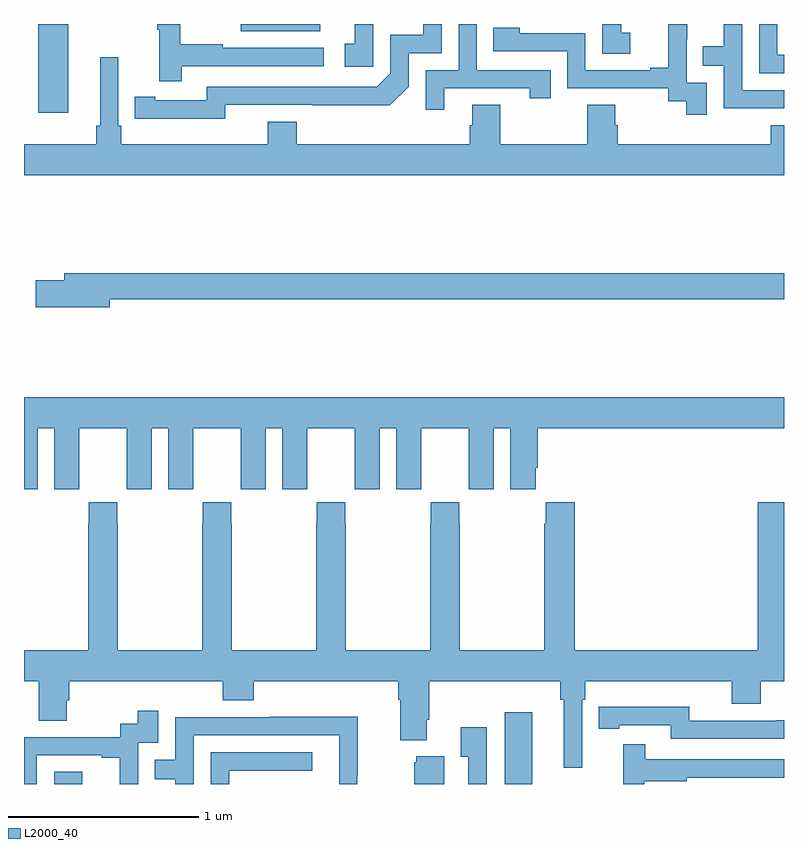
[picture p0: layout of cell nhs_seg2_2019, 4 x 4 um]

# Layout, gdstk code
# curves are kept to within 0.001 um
import gdstk
lib = gdstk.Library(unit=1e-6, precision=1e-09)
def R(c, l, rs):  # rectangles x0, y0, x1, y1
    for r in rs: c.add(gdstk.rectangle(r[:2], r[2:], *l))
def P(c, l, *ps):  # polygons
    for p in ps: c.add(gdstk.Polygon(p, *l))
L2000_40 = (2000, 40)

nhs_seg2_2019 = lib.new_cell('nhs_seg2_2019')
R(nhs_seg2_2019, L2000_40, [(217.158,609.8,217.306,609.865), (219.53,609.8,219.676,610.177), (217.076,613.332,217.234,613.8), (218.141,613.763,218.56,613.8)])
P(nhs_seg2_2019, L2000_40, [(220.192,613.753),(220.143,613.753),(220.143,613.8),(220.044,613.8),(220.044,613.644),(220.192,613.644)],
  [(219.211,613.461),(219.662,613.461),(219.662,613.41),(219.773,613.41),(219.773,613.557),(219.384,613.557),(219.384,613.8),(219.288,613.8),(219.288,613.557),(219.114,613.557),(219.114,613.35),(219.211,613.35)],
  [(218.058,613.374),(218.926,613.373),(219.024,613.47),(219.024,613.647),(219.198,613.647),(219.198,613.8),(219.101,613.8),(219.101,613.743),(218.928,613.743),(218.928,613.542),(218.856,613.47),(217.962,613.47),(217.962,613.398),(217.69,613.398),(217.69,613.418),(217.582,613.418),(217.582,613.302),(218.058,613.301)],
  [(221,613.638),(220.965,613.638),(220.965,613.8),(220.869,613.8),(220.869,613.542),(221,613.542)],
  [(221,613.452),(220.779,613.452),(220.779,613.8),(220.683,613.8),(220.683,613.682),(220.573,613.682),(220.573,613.581),(220.683,613.581),(220.683,613.356),(221,613.356)],
  [(218.838,613.8),(218.741,613.8),(218.741,613.695),(218.688,613.695),(218.688,613.575),(218.838,613.575)],
  [(217.829,613.578),(218.578,613.578),(218.578,613.674),(218.045,613.674),(218.045,613.694),(217.822,613.694),(217.822,613.8),(217.701,613.8),(217.701,613.771),(217.712,613.771),(217.712,613.5),(217.829,613.5)],
  [(220.593,613.491),(220.488,613.491),(220.488,613.721),(220.49,613.721),(220.49,613.8),(220.391,613.8),(220.391,613.57),(220.295,613.57),(220.295,613.557),(219.954,613.557),(219.954,613.752),(219.609,613.752),(219.609,613.779),(219.469,613.779),(219.469,613.656),(219.858,613.656),(219.858,613.461),(220.392,613.461),(220.392,613.393),(220.485,613.393),(220.485,613.323),(220.593,613.323)],
  [(221,613.267),(220.931,613.267),(220.931,613.168),(220.124,613.168),(220.124,613.266),(220.111,613.266),(220.111,613.376),(219.964,613.376),(219.964,613.168),(219.507,613.168),(219.507,613.376),(219.359,613.376),(219.359,613.266),(219.347,613.266),(219.347,613.168),(218.435,613.168),(218.435,613.285),(218.282,613.285),(218.282,613.168),(217.511,613.168),(217.511,613.264),(217.497,613.264),(217.497,613.624),(217.4,613.624),(217.4,613.264),(217.381,613.264),(217.381,613.168),(217,613.168),(217,613.004),(221,613.004)],
  [(217.45,612.352),(221,612.352),(221,612.488),(217.211,612.488),(217.211,612.452),(217.062,612.452),(217.062,612.31),(217.45,612.31)],
  [(217.072,611.672),(217.16,611.672),(217.16,611.352),(217.29,611.352),(217.29,611.464),(217.291,611.464),(217.291,611.672),(217.541,611.672),(217.541,611.464),(217.542,611.464),(217.542,611.352),(217.672,611.352),(217.672,611.672),(217.76,611.672),(217.76,611.352),(217.89,611.352),(217.89,611.464),(217.891,611.464),(217.891,611.672),(218.141,611.672),(218.141,611.464),(218.142,611.464),(218.142,611.352),(218.272,611.352),(218.272,611.672),(218.36,611.672),(218.36,611.352),(218.49,611.352),(218.49,611.464),(218.491,611.464),(218.491,611.672),(218.741,611.672),(218.741,611.464),(218.742,611.464),(218.742,611.352),(218.872,611.352),(218.872,611.672),(218.96,611.672),(218.96,611.352),(219.09,611.352),(219.09,611.464),(219.091,611.464),(219.091,611.672),(219.341,611.672),(219.341,611.464),(219.342,611.464),(219.342,611.352),(219.472,611.352),(219.472,611.672),(219.56,611.672),(219.56,611.352),(219.694,611.352),(219.694,611.464),(219.704,611.464),(219.704,611.672),(221,611.672),(221,611.836),(217,611.836),(217,611.352),(217.072,611.352)],
  [(218.094,611.171),(218.091,611.171),(218.091,611.284),(217.941,611.284),(217.941,611.171),(217.939,611.171),(217.939,610.504),(217.494,610.504),(217.494,611.171),(217.491,611.171),(217.491,611.284),(217.341,611.284),(217.341,611.171),(217.339,611.171),(217.339,610.504),(217,610.504),(217,610.34),(217.078,610.34),(217.078,610.132),(217.225,610.132),(217.225,610.242),(217.238,610.242),(217.238,610.34),(218.045,610.34),(218.045,610.241),(218.21,610.241),(218.21,610.34),(218.969,610.34),(218.969,610.244),(218.981,610.244),(218.981,610.031),(219.121,610.031),(219.121,610.138),(219.134,610.138),(219.134,610.34),(219.823,610.34),(219.823,610.244),(219.842,610.244),(219.842,609.885),(219.939,609.885),(219.939,610.244),(219.953,610.244),(219.953,610.34),(220.724,610.34),(220.724,610.223),(220.877,610.223),(220.877,610.34),(221,610.34),(221,611.284),(220.862,611.284),(220.862,610.504),(219.899,610.504),(219.899,611.284),(219.745,611.284),(219.745,611.171),(219.739,611.171),(219.739,610.504),(219.294,610.504),(219.294,611.171),(219.291,611.171),(219.291,611.284),(219.141,611.284),(219.141,611.171),(219.139,611.171),(219.139,610.504),(218.694,610.504),(218.694,611.171),(218.691,611.171),(218.691,611.284),(218.541,611.284),(218.541,611.171),(218.539,611.171),(218.539,610.504),(218.094,610.504)],
  [(221,610.136),(220.96,610.136),(220.96,610.134),(220.5,610.134),(220.5,610.207),(220.132,610.207),(220.132,610.206),(220.024,610.206),(220.024,610.09),(220.132,610.09),(220.132,610.11),(220.404,610.11),(220.404,610.038),(221,610.038)],
  [(217.068,609.951),(217.409,609.951),(217.409,609.939),(217.505,609.939),(217.505,609.8),(217.602,609.8),(217.602,610.017),(217.707,610.017),(217.707,610.186),(217.599,610.186),(217.599,610.116),(217.506,610.116),(217.506,610.047),(217,610.047),(217,609.8),(217.068,609.8)],
  [(217.893,610.056),(218.658,610.056),(218.658,609.8),(218.754,609.8),(218.754,609.847),(218.757,609.847),(218.757,610.154),(218.293,610.154),(218.293,610.152),(217.797,610.152),(217.797,609.927),(217.687,609.927),(217.687,609.826),(217.797,609.826),(217.797,609.8),(217.893,609.8)],
  [(219.435,610.099),(219.299,610.099),(219.299,609.943),(219.339,609.943),(219.339,609.8),(219.435,609.8)],
  [(220.264,609.814),(220.487,609.814),(220.487,609.834),(221,609.834),(221,609.93),(220.271,609.93),(220.271,610.009),(220.154,610.009),(220.154,609.8),(220.264,609.8)],
  [(218.079,609.87),(218.518,609.87),(218.518,609.966),(217.983,609.966),(217.983,609.8),(218.079,609.8)],
  [(219.211,609.946),(219.065,609.946),(219.065,609.915),(219.053,609.915),(219.053,609.8),(219.211,609.8)])

lib.write_gds('nhs_seg2_2019.gds')
